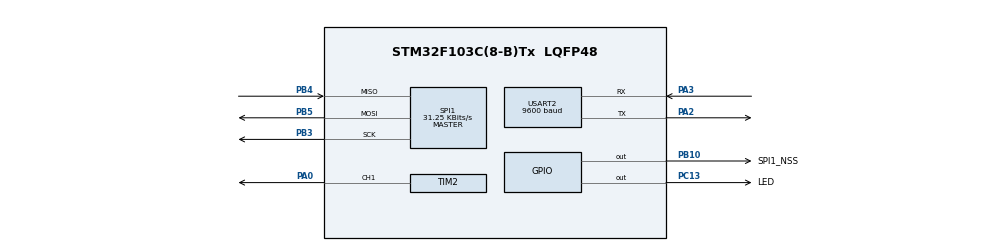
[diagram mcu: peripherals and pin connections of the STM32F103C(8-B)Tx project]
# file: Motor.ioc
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Mcu.Family=STM32F1
Mcu.Name=STM32F103C(8-B)Tx
Mcu.Package=LQFP48
NVIC.PriorityGroup=NVIC_PRIORITYGROUP_4
PA0-WKUP.Signal=S_TIM2_CH1_ETR
PA13.Mode=Serial_Wire
PA13.Signal=SYS_JTMS-SWDIO
PA14.Mode=Serial_Wire
PA14.Signal=SYS_JTCK-SWCLK
PA2.Mode=Asynchronous
PA2.Signal=USART2_TX
PA3.Mode=Asynchronous
PA3.Signal=USART2_RX
PB10.GPIO_Label=SPI1_NSS
PB10.Signal=GPIO_Output
PB3.Mode=Full_Duplex_Master
PB3.Signal=SPI1_SCK
PB4.Mode=Full_Duplex_Master
PB4.Signal=SPI1_MISO
PB5.Mode=Full_Duplex_Master
PB5.Signal=SPI1_MOSI
PC13-TAMPER-RTC.GPIO_Label=LED
PC13-TAMPER-RTC.Signal=GPIO_Output
ProjectManager.HeapSize=0x200
ProjectManager.StackSize=0x400
ProjectManager.TargetToolchain=STM32CubeIDE
RCC.APB1Freq_Value=8000000
RCC.APB2Freq_Value=8000000
SH.S_TIM2_CH1_ETR.0=TIM2_CH1,PWM Generation1 CH1
SPI1.BaudRatePrescaler=SPI_BAUDRATEPRESCALER_256
SPI1.CLKPhase=SPI_PHASE_2EDGE
SPI1.CalculateBaudRate=31.25 KBits/s
SPI1.Direction=SPI_DIRECTION_2LINES
SPI1.Mode=SPI_MODE_MASTER
SPI1.VirtualType=VM_MASTER
TIM2.Channel-PWM\ Generation1\ CH1=TIM_CHANNEL_1
TIM2.CounterMode=TIM_COUNTERMODE_UP
TIM2.OC1Preload_PWM=DISABLE
TIM2.OCFastMode_PWM-PWM\ Generation1\ CH1=TIM_OCFAST_DISABLE
TIM2.Period=2019
TIM2.Prescaler=79
TIM2.Pulse-PWM\ Generation1\ CH1=0
USART2.BaudRate=9600
USART2.VirtualMode=VM_ASYNC
VP_RTC_No_RTC_Output.Mode=RTC_OUT_NO
VP_RTC_VS_RTC_Activate.Mode=RTC_Enabled
VP_TIM2_VS_ClockSourceINT.Mode=Internal
board=custom

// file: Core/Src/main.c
/* USER CODE BEGIN Header */
/**
  ******************************************************************************
  * @file           : main.c
  * @brief          : Main program body
  ******************************************************************************
  * @attention
  *
  * <h2><center>&copy; Copyright (c) 2020 STMicroelectronics.
  * All rights reserved.</center></h2>
  *
  * This software component is licensed by ST under BSD 3-Clause license,
  * the "License"; You may not use this file except in compliance with the
  * License. You may obtain a copy of the License at:
  *                        opensource.org/licenses/BSD-3-Clause
  *
  ******************************************************************************
  */
/* USER CODE END Header */

#include "main.h"

/* USER CODE BEGIN Includes */
#include <stm32f1xx.h>
#include "servo.h"
#include <stdio.h>
#include "ad7124_console_app.h"
#include <ctype.h>
#include <string.h>
#include <stdbool.h>

/* USER CODE END Includes */

/* USER CODE BEGIN PTD */
#ifdef __GNUC__
  /* With GCC, small printf (option LD Linker->Libraries->Small printf
     set to 'Yes') calls __io_putchar() */
  #define PUTCHAR_PROTOTYPE int __io_putchar(int ch)
#else
	#define PUTCHAR_PROTOTYPE int fputc(int ch, FILE *f)
#endif /* __GNUC__ */

/* USER CODE END PTD */

RTC_HandleTypeDef hrtc;

SPI_HandleTypeDef hspi1;

TIM_HandleTypeDef htim2;

UART_HandleTypeDef huart2;

void SystemClock_Config(void);
static void MX_GPIO_Init(void);
static void MX_RTC_Init(void);
static void MX_TIM2_Init(void);
static void MX_SPI1_Init(void);
static void MX_USART2_UART_Init(void);

/* USER CODE BEGIN 0 */
/*
int write(int file, char *ptr, int len){
	for(int i = 0; i < len; i++){
		ITM_SendChar(*ptr++);
	}
	return len;
}
*/
/* USER CODE END 0 */

int main(void)
{

  /* MCU Configuration--------------------------------------------------------*/

  /* Reset of all peripherals, Initializes the Flash interface and the Systick. */
  HAL_Init();

  /* Configure the system clock */
  SystemClock_Config();

  /* Initialize all configured peripherals */
  MX_GPIO_Init();
  MX_RTC_Init();
  MX_TIM2_Init();
  MX_SPI1_Init();
  MX_USART2_UART_Init();
  /* USER CODE BEGIN 2 */
  HAL_TIM_PWM_Start(&htim2,TIM_CHANNEL_1);
  //encoder_init();

  /* Initialize the AD7124 application before the main loop */
  int32_t setupResult;
  if ((setupResult = ad7124_app_initialize(AD7124_CONFIG_A)) < 0 ) {
      // Handle error setting up AD7124 here
  }

  /* USER CODE END 2 */

  /* Infinite loop */
  /* USER CODE BEGIN WHILE */
  while (1)
  {
	  //display the console menu for the AD7124 application
	  adi_do_console_menu(&ad7124_main_menu);

    /* USER CODE END WHILE */

  }
}

void SystemClock_Config(void)
{
  RCC_OscInitTypeDef RCC_OscInitStruct = {0};
  RCC_ClkInitTypeDef RCC_ClkInitStruct = {0};
  RCC_PeriphCLKInitTypeDef PeriphClkInit = {0};

  /** Initializes the CPU, AHB and APB busses clocks
  */
  RCC_OscInitStruct.OscillatorType = RCC_OSCILLATORTYPE_HSI|RCC_OSCILLATORTYPE_LSI;
  RCC_OscInitStruct.HSIState = RCC_HSI_ON;
  RCC_OscInitStruct.HSICalibrationValue = RCC_HSICALIBRATION_DEFAULT;
  RCC_OscInitStruct.LSIState = RCC_LSI_ON;
  RCC_OscInitStruct.PLL.PLLState = RCC_PLL_NONE;
  if (HAL_RCC_OscConfig(&RCC_OscInitStruct) != HAL_OK)
  {
    Error_Handler();
  }
  /** Initializes the CPU, AHB and APB busses clocks
  */
  RCC_ClkInitStruct.ClockType = RCC_CLOCKTYPE_HCLK|RCC_CLOCKTYPE_SYSCLK
                              |RCC_CLOCKTYPE_PCLK1|RCC_CLOCKTYPE_PCLK2;
  RCC_ClkInitStruct.SYSCLKSource = RCC_SYSCLKSOURCE_HSI;
  RCC_ClkInitStruct.AHBCLKDivider = RCC_SYSCLK_DIV1;
  RCC_ClkInitStruct.APB1CLKDivider = RCC_HCLK_DIV1;
  RCC_ClkInitStruct.APB2CLKDivider = RCC_HCLK_DIV1;

  if (HAL_RCC_ClockConfig(&RCC_ClkInitStruct, FLASH_LATENCY_0) != HAL_OK)
  {
    Error_Handler();
  }
  PeriphClkInit.PeriphClockSelection = RCC_PERIPHCLK_RTC;
  PeriphClkInit.RTCClockSelection = RCC_RTCCLKSOURCE_LSI;
  if (HAL_RCCEx_PeriphCLKConfig(&PeriphClkInit) != HAL_OK)
  {
    Error_Handler();
  }
}

static void MX_RTC_Init(void)
{

  RTC_TimeTypeDef sTime = {0};
  RTC_DateTypeDef DateToUpdate = {0};

  /** Initialize RTC Only
  */
  hrtc.Instance = RTC;
  hrtc.Init.AsynchPrediv = RTC_AUTO_1_SECOND;
  hrtc.Init.OutPut = RTC_OUTPUTSOURCE_NONE;
  if (HAL_RTC_Init(&hrtc) != HAL_OK)
  {
    Error_Handler();
  }

  /** Initialize RTC and set the Time and Date
  */
  sTime.Hours = 0x0;
  sTime.Minutes = 0x0;
  sTime.Seconds = 0x0;

  if (HAL_RTC_SetTime(&hrtc, &sTime, RTC_FORMAT_BCD) != HAL_OK)
  {
    Error_Handler();
  }
  DateToUpdate.WeekDay = RTC_WEEKDAY_MONDAY;
  DateToUpdate.Month = RTC_MONTH_JANUARY;
  DateToUpdate.Date = 0x1;
  DateToUpdate.Year = 0x0;

  if (HAL_RTC_SetDate(&hrtc, &DateToUpdate, RTC_FORMAT_BCD) != HAL_OK)
  {
    Error_Handler();
  }

}

static void MX_SPI1_Init(void)
{

  /* SPI1 parameter configuration*/
  hspi1.Instance = SPI1;
  hspi1.Init.Mode = SPI_MODE_MASTER;
  hspi1.Init.Direction = SPI_DIRECTION_2LINES;
  hspi1.Init.DataSize = SPI_DATASIZE_8BIT;
  hspi1.Init.CLKPolarity = SPI_POLARITY_LOW;
  hspi1.Init.CLKPhase = SPI_PHASE_2EDGE;
  hspi1.Init.NSS = SPI_NSS_SOFT;
  hspi1.Init.BaudRatePrescaler = SPI_BAUDRATEPRESCALER_256;
  hspi1.Init.FirstBit = SPI_FIRSTBIT_MSB;
  hspi1.Init.TIMode = SPI_TIMODE_DISABLE;
  hspi1.Init.CRCCalculation = SPI_CRCCALCULATION_DISABLE;
  hspi1.Init.CRCPolynomial = 10;
  if (HAL_SPI_Init(&hspi1) != HAL_OK)
  {
    Error_Handler();
  }

}

static void MX_TIM2_Init(void)
{

  TIM_ClockConfigTypeDef sClockSourceConfig = {0};
  TIM_MasterConfigTypeDef sMasterConfig = {0};
  TIM_OC_InitTypeDef sConfigOC = {0};

  htim2.Instance = TIM2;
  htim2.Init.Prescaler = 79;
  htim2.Init.CounterMode = TIM_COUNTERMODE_UP;
  htim2.Init.Period = 2019;
  htim2.Init.ClockDivision = TIM_CLOCKDIVISION_DIV1;
  htim2.Init.AutoReloadPreload = TIM_AUTORELOAD_PRELOAD_DISABLE;
  if (HAL_TIM_Base_Init(&htim2) != HAL_OK)
  {
    Error_Handler();
  }
  sClockSourceConfig.ClockSource = TIM_CLOCKSOURCE_INTERNAL;
  if (HAL_TIM_ConfigClockSource(&htim2, &sClockSourceConfig) != HAL_OK)
  {
    Error_Handler();
  }
  if (HAL_TIM_PWM_Init(&htim2) != HAL_OK)
  {
    Error_Handler();
  }
  sMasterConfig.MasterOutputTrigger = TIM_TRGO_RESET;
  sMasterConfig.MasterSlaveMode = TIM_MASTERSLAVEMODE_DISABLE;
  if (HAL_TIMEx_MasterConfigSynchronization(&htim2, &sMasterConfig) != HAL_OK)
  {
    Error_Handler();
  }
  sConfigOC.OCMode = TIM_OCMODE_PWM1;
  sConfigOC.Pulse = 0;
  sConfigOC.OCPolarity = TIM_OCPOLARITY_HIGH;
  sConfigOC.OCFastMode = TIM_OCFAST_DISABLE;
  if (HAL_TIM_PWM_ConfigChannel(&htim2, &sConfigOC, TIM_CHANNEL_1) != HAL_OK)
  {
    Error_Handler();
  }
  __HAL_TIM_DISABLE_OCxPRELOAD(&htim2, TIM_CHANNEL_1);
  HAL_TIM_MspPostInit(&htim2);

}

static void MX_USART2_UART_Init(void)
{

  huart2.Instance = USART2;
  huart2.Init.BaudRate = 9600;
  huart2.Init.WordLength = UART_WORDLENGTH_8B;
  huart2.Init.StopBits = UART_STOPBITS_1;
  huart2.Init.Parity = UART_PARITY_NONE;
  huart2.Init.Mode = UART_MODE_TX_RX;
  huart2.Init.HwFlowCtl = UART_HWCONTROL_NONE;
  huart2.Init.OverSampling = UART_OVERSAMPLING_16;
  if (HAL_UART_Init(&huart2) != HAL_OK)
  {
    Error_Handler();
  }

}

static void MX_GPIO_Init(void)
{
  GPIO_InitTypeDef GPIO_InitStruct = {0};

  /* GPIO Ports Clock Enable */
  __HAL_RCC_GPIOC_CLK_ENABLE();
  __HAL_RCC_GPIOA_CLK_ENABLE();
  __HAL_RCC_GPIOB_CLK_ENABLE();

  /*Configure GPIO pin Output Level */
  HAL_GPIO_WritePin(LED_GPIO_Port, LED_Pin, GPIO_PIN_RESET);

  /*Configure GPIO pin Output Level */
  HAL_GPIO_WritePin(SPI1_NSS_GPIO_Port, SPI1_NSS_Pin, GPIO_PIN_RESET);

  /*Configure GPIO pin : LED_Pin */
  GPIO_InitStruct.Pin = LED_Pin;
  GPIO_InitStruct.Mode = GPIO_MODE_OUTPUT_PP;
  GPIO_InitStruct.Pull = GPIO_NOPULL;
  GPIO_InitStruct.Speed = GPIO_SPEED_FREQ_LOW;
  HAL_GPIO_Init(LED_GPIO_Port, &GPIO_InitStruct);

  /*Configure GPIO pin : SPI1_NSS_Pin */
  GPIO_InitStruct.Pin = SPI1_NSS_Pin;
  GPIO_InitStruct.Mode = GPIO_MODE_OUTPUT_PP;
  GPIO_InitStruct.Pull = GPIO_NOPULL;
  GPIO_InitStruct.Speed = GPIO_SPEED_FREQ_LOW;
  HAL_GPIO_Init(SPI1_NSS_GPIO_Port, &GPIO_InitStruct);

}

/* USER CODE BEGIN 4 */

PUTCHAR_PROTOTYPE
{
  /* Place your implementation of fputc here */
  /* e.g. write a character to the EVAL_COM1 and Loop until the end of transmission */
  HAL_UART_Transmit(&huart2, (uint8_t *)&ch, 1, 0xFFFF);

  return ch;
} //also declared in platform_support.c

/* USER CODE END 4 */

void Error_Handler(void)
{
}

/************************ (C) COPYRIGHT STMicroelectronics *****END OF FILE****/
